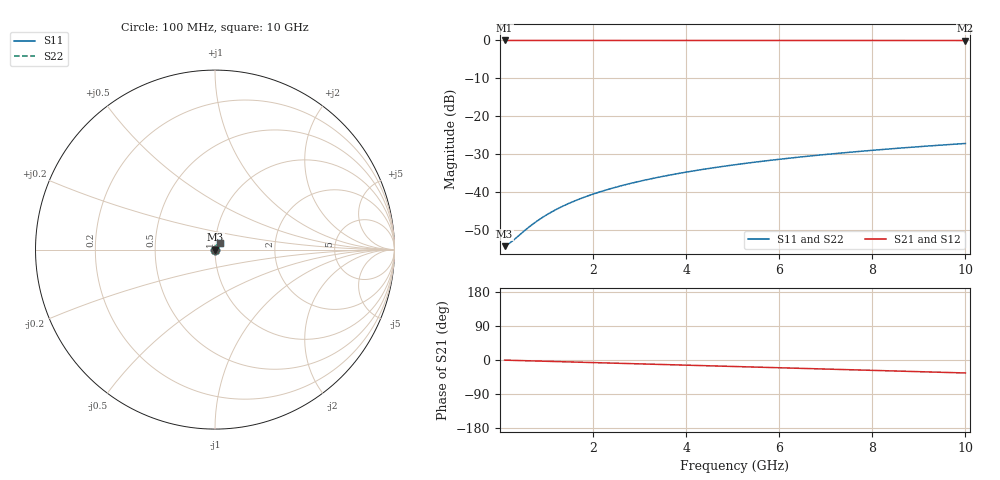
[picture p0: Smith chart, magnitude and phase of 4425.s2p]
# Hz S RI R 50.00
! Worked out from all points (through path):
!   100 points, 100 MHz to 10 GHz, reference 50 ohm
!   highest |S21| = -0.02 dB at 100 MHz (marker M1); lowest = 0.0 dB at 10 GHz (marker M2)
!   group delay of S21, straight-line fit = 9.51 ps
!   lowest |S11| = -54.3 dB at 100 MHz (marker M3), VSWR 1.00, Z = 50.2 + j0.0452 ohm
!   |S11| at or under -10 dB: start of sweep to end of sweep
!   |S22| runs from -54.3 to -27.2 dB; largest |S21 - S12| = 0
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1e8  0.00188 0.00045  0.9981 -0.00591  0.9981 -0.00591  0.00188 0.00045
2e8  0.0019 0.000901  0.998 -0.0118  0.998 -0.0118  0.0019 0.000901
3e8  0.00192 0.00135  0.9979 -0.0177  0.9979 -0.0177  0.00192 0.00135
5e8  0.00197 0.00225  0.9976 -0.0296  0.9976 -0.0296  0.00197 0.00225
7e8  0.00204 0.00315  0.9972 -0.0414  0.9972 -0.0414  0.00204 0.00315
8e8  0.00208 0.00359  0.9969 -0.0473  0.9969 -0.0473  0.00208 0.00359
1e9  0.00218 0.00449  0.9963 -0.0591  0.9963 -0.0591  0.00218 0.00449
1.2e9  0.0023 0.00538  0.9955 -0.0709  0.9955 -0.0709  0.0023 0.00538
1.4e9  0.00244 0.00626  0.9946 -0.0827  0.9946 -0.0827  0.00244 0.00626
1.6e9  0.0026 0.00714  0.9935 -0.0945  0.9935 -0.0945  0.0026 0.00714
1.8e9  0.00279 0.00802  0.9923 -0.1063  0.9923 -0.1063  0.00279 0.00802
2.1e9  0.0031 0.00933  0.9902 -0.124  0.9902 -0.124  0.0031 0.00933
2.5e9  0.00359 0.011  0.9869 -0.1475  0.9869 -0.1475  0.00359 0.011
2.9e9  0.00415 0.0127  0.9831 -0.1709  0.9831 -0.1709  0.00415 0.0127
3.4e9  0.00498 0.0148  0.9775 -0.2  0.9775 -0.2  0.00498 0.0148
4.2e9  0.00655 0.018  0.9668 -0.2464  0.9668 -0.2464  0.00655 0.018
5.1e9  0.00868 0.0214  0.952 -0.2979  0.952 -0.2979  0.00868 0.0214
5.9e9  0.0109 0.0243  0.9366 -0.343  0.9366 -0.343  0.0109 0.0243
6.7e9  0.0133 0.0269  0.919 -0.3874  0.919 -0.3874  0.0133 0.0269
7.5e9  0.0161 0.0293  0.8992 -0.4311  0.8992 -0.4311  0.0161 0.0293
8.4e9  0.0194 0.0317  0.8744 -0.479  0.8744 -0.479  0.0194 0.0317
1e10  0.026 0.0351  0.8238 -0.5609  0.8238 -0.5609  0.026 0.0351
